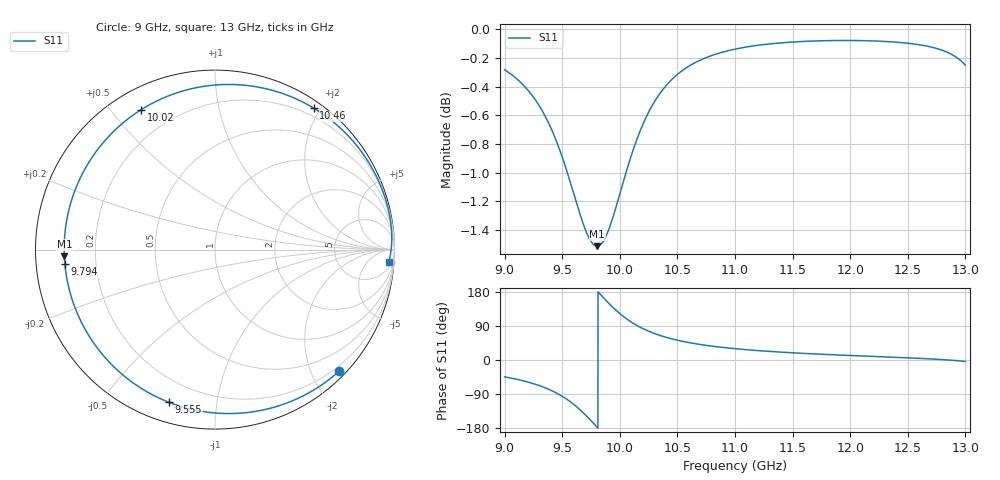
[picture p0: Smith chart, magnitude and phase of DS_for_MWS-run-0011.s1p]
! TOUCHSTONE file generated by CST DESIGN STUDIO
! Date and time: Tue Feb  4 18:40:53 2025
! Project name: C:\Work\MatlabApps\UnitCellOptimizationMatlab\CST\unitcell.cst
! Tree item: Tasks\Sweep1\SPara1\S-Parameters
! Header version: 2024
! Port assignment regex: !\s*Touchstone port\s*([0-9]+)\s*=\s*(CST MWS port|CST DES external port|CST DES block port)\s*(.+)\s* \(\"(.*)\"\)(\s*mode\s*([0-9]+))?.*
! Touchstone port assignment:
! Touchstone port 1 = CST DES external port 1 ("")
# GHz S MA R 50
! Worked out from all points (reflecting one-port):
!   4001 points, 9 GHz to 13 GHz, reference 50 ohm
!   lowest |S11| = -1.5 dB at 9.803 GHz (marker M1), VSWR 11.52, Z = 4.34 - j1.12 ohm
!   phase of S11 starts at -44 deg and turns -319 deg over the sweep
!   S11 on the Smith chart (normalised r, x): 9 GHz: 0.11, -2.44; 9.555 GHz: 0.09, -0.74; 9.794 GHz: 0.09, -0.05; 10.02 GHz: 0.09, +0.60; 10.46 GHz: 0.09, +1.91; 13 GHz: 10, -25
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9  0.968 -44.5
9.145  0.9578 -53.7
9.276  0.9438 -64.9
9.39  0.9261 -78.3
9.5  0.9026 -95.8
9.555  0.8886 -106.8
9.614  0.8727 -120.6
9.67  0.8583 -135.6
9.736  0.8453 -155.5
9.794  0.8404 -174.4
9.803  0.8403 -177.4
9.846  0.8424 168.3
9.89  0.8488 154.1
9.946  0.8614 137.2
10  0.8762 122.5
10.019  0.8816 117.8
10.094  0.9022 101.2
10.182  0.9228 85.6
10.313  0.9453 68.5
10.46  0.9613 55.1
10.5  0.9645 52.2
10.717  0.9763 40.0
11  0.9842 29.9
11.5  0.9898 19.0
12  0.9911 11.9
12.5  0.9889 5.7
12.792  0.9835 1.2
13  0.9716 -3.9
